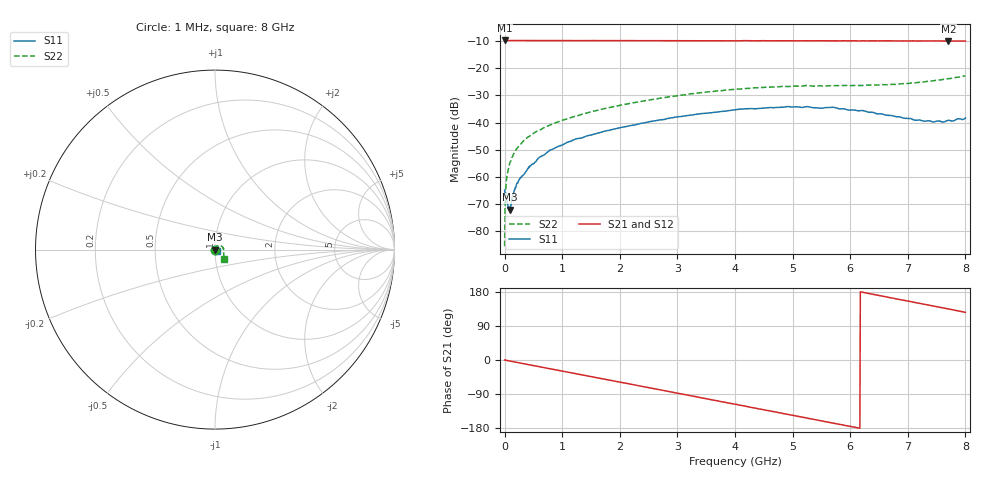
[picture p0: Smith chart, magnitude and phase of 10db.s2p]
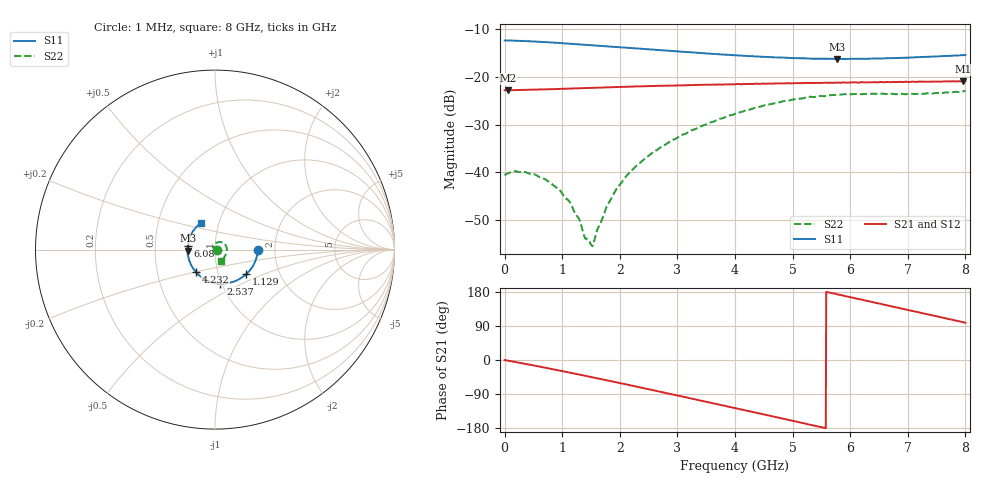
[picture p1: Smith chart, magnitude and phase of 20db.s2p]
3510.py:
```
import pandas as pd
import numpy as np
import matplotlib.pyplot as plt
import matplotlib

matplotlib.use("pgf")

matplotlib.rcParams.update({
    "pgf.texsystem": "pdflatex",
    'font.family': 'serif',
    'text.usetex': True,
    'pgf.rcfonts': False,
})

files = ["6db.s2p", "10db.s2p", "20db.s2p"]
labels = ["6 dB Attenuator", "10 dB Attenuator", "20 dB Attenuator"]

data_dict = {}

for f, label in zip(files, labels):
    # Read CSV, skip comment lines, assign column names
    df = pd.read_csv(f, comment='!', delim_whitespace=True, header=None,
                     names=["Freq", "S11_dB", "S11_Ang", "S21_dB", "S21_Ang",
                            "S12_dB", "S12_Ang", "S22_dB", "S22_Ang"])

    # Convert relevant columns to numeric
    df["Freq"] = pd.to_numeric(df["Freq"], errors='coerce')
    df["S21_dB"] = pd.to_numeric(df["S21_dB"], errors='coerce')

    # Drop rows where conversion failed
    df = df.dropna(subset=["Freq", "S21_dB"])

    # Sort by frequency to ensure proper plotting
    df = df.sort_values("Freq")

    freq = df["Freq"].values
    S21_dB = df["S21_dB"].values
    S21_lin = 10 ** (S21_dB / 20)  # convert to linear magnitude

    data_dict[label] = {"freq": freq, "S21_dB": S21_dB, "S21_lin": S21_lin}

# =========================
# Create figure with two subplots side by side
# =========================
fig, axes = plt.subplots(1, 2, figsize=(6.3, 3.5))

# First plot: TL in dB
ax1 = axes[0]
for label in labels:
    ax1.plot(data_dict[label]["freq"] / 1e9, data_dict[label]["S21_dB"],
             linewidth=2, label=label)
ax1.set_xlabel("Frequency (GHz)")
ax1.set_ylabel("Transmission Loss |S21| (dB)")
ax1.set_title("Transmission Loss (log scale)")
ax1.grid(True, linestyle=":", linewidth=0.8)
ax1.legend()

# Second plot: TL in linear scale
ax2 = axes[1]
for label in labels:
    ax2.plot(data_dict[label]["freq"] / 1e9, data_dict[label]["S21_lin"],
             linewidth=2, )
ax2.set_xlabel("Frequency (GHz)")
ax2.set_ylabel("Transmission Loss |S21| (linear)")
ax2.set_title("Transmission Loss (linear scale)")
ax2.grid(True, linestyle=":", linewidth=0.8)
ax2.legend()

# Adjust layout and save
plt.tight_layout()
fig.savefig("attenuators_comparison.pgf")

# If you specifically want to save as "359.pgf"
fig.savefig("3510.pgf")

plt.show()
```
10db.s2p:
# Hz S DB R 50
! CMT, CMT804U, 21380002, 24.2.2/4
! Date: 25/11/2025 13:44:52
! Data: Format (Calibration Info)
! Freq	S11:dB/Ang(F2)	S21:dB/Ang(F2)	S12:dB/Ang(F2)	S22:dB/Ang(F2)
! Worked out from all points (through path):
!   1001 points, 1 MHz to 8 GHz, reference 50 ohm
!   highest |S21| = -9.72 dB at 1 MHz (marker M1); lowest = -9.9 dB at 7.704 GHz (marker M2)
!   group delay of S21, straight-line fit = 81.2 ps
!   lowest |S11| = -72.1 dB at 88.99 MHz (marker M3), VSWR 1.00, Z = 50 - j0.0115 ohm
!   |S11| at or under -10 dB: start of sweep to end of sweep
!   |S22| runs from -85.6 to -22.7 dB; largest |S21 - S12| = 0.0043
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1000000  -64.84 -175.9  -9.72 -0.0  -9.72 -0.1  -85.56 -34.8
4.8994e7  -69.70 170.7  -9.73 -1.5  -9.73 -1.5  -58.84 66.5
8.8989e7  -72.09 -152.4  -9.73 -2.7  -9.73 -2.7  -55.18 66.7
2.4097e8  -61.60 -91.8  -9.74 -7.1  -9.74 -7.2  -48.91 68.5
4.32946e8  -56.33 -85.3  -9.75 -12.7  -9.75 -12.8  -45.01 69.9
1.088864e9  -47.26 -82.0  -9.77 -31.8  -9.77 -31.8  -38.64 71.3
2.520685e9  -39.65 -74.5  -9.77 -73.4  -9.77 -73.5  -31.64 56.7
4.0005e9  -35.30 -73.2  -9.83 -116.5  -9.81 -116.5  -27.72 28.3
5.704287e9  -34.37 -80.2  -9.88 -166.4  -9.83 -166.4  -26.41 -0.7
7.704037e9  -39.12 -38.2  -9.93 134.7  -9.86 134.5  -23.81 -38.1
8e9  -38.31 -27.7  -9.92 125.8  -9.83 125.7  -22.73 -44.4
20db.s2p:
# Hz S DB R 50
! CMT, CMT804U, 21380002, 24.2.2/4
! Date: 25/11/2025 13:47:42
! Data: Format (Calibration Info)
! Freq	S11:dB/Ang(F2)	S21:dB/Ang(F2)	S12:dB/Ang(F2)	S22:dB/Ang(F2)
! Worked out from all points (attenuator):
!   1001 points, 1 MHz to 8 GHz, reference 50 ohm
!   highest |S21| = -20.95 dB at 7.96 GHz (marker M1); lowest = -22.8 dB at 56.99 MHz (marker M2)
!   lowest |S11| = -16.3 dB at 5.768 GHz (marker M3), VSWR 1.36, Z = 36.8 - j0.495 ohm
!   |S11| at or under -10 dB: start of sweep to end of sweep
!   |S22| runs from -55.4 to -23.0 dB; largest |S21 - S12| = 0.0024
!   S11 on the Smith chart (normalised r, x): 1 MHz: 1.63, -0.00; 1.129 GHz: 1.35, -0.39; 2.537 GHz: 0.99, -0.39; 4.232 GHz: 0.78, -0.20; 6.08 GHz: 0.74, +0.03; 8 GHz: 0.82, +0.25
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1000000  -12.45 -0.1  -22.83 -0.1  -22.83 -0.1  -40.59 -0.5
5.6993e7  -12.45 -2.2  -22.83 -1.6  -22.83 -1.6  -40.21 1.9
1.128859e9  -13.11 -38.6  -22.49 -33.2  -22.49 -33.1  -46.11 -41.8
1.52081e9  -13.44 -50.8  -22.34 -45.5  -22.32 -45.3  -55.36 -129.5
2.536683e9  -14.32 -81.1  -21.96 -78.4  -21.95 -78.2  -36.16 125.9
4.0005e9  -15.53 -123.9  -21.60 -126.7  -21.51 -126.6  -27.76 73.3
4.232471e9  -15.70 -130.7  -21.53 -134.6  -21.46 -134.3  -26.91 66.4
5.768279e9  -16.34 -177.5  -21.23 173.5  -21.09 173.7  -23.78 20.4
6.08024e9  -16.28 172.8  -21.17 163.2  -21.08 163.1  -23.61 10.6
7.960005e9  -15.50 118.5  -20.95 99.8  -20.95 99.0  -23.04 -61.8
8e9  -15.51 117.5  -20.98 98.2  -20.84 97.7  -23.00 -62.5
